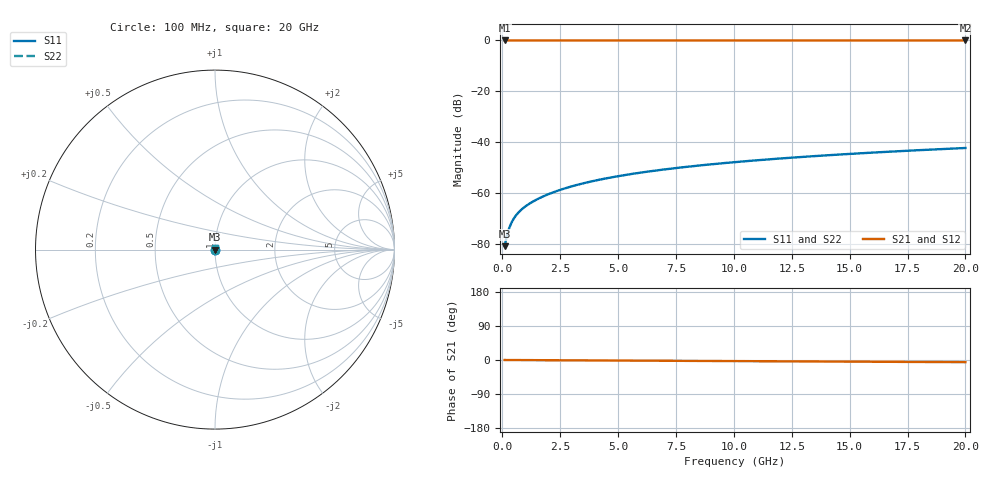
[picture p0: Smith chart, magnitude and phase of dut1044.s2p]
! Touchstone file exported from HFSS 2026.1.0
!  File:  C:/ffzhzh/LocalFiles/Ansys_Project_Files/temp_train_TSV_1044_1783189348_43440.aedt
!  Generated:  02:24:02 AM Jul  5, 2026
!  Design:  TSV
!  Project:  temp_train_TSV_1044_1783189348_43440
! Variables:
!  h_bsmrdl = 2um
!  h_ox = 20um
!  h_rdl = 5um
!  h_sub = 51.07um
!  h_tmrdl = 5um
!  h_tsv = 51.07um
!  h_via = 3um
!  l_bsmrdl = 300um
!  l_sub = 426.46um
!  l_tmrdl = 200um
!  m_sub = 200um
!  pitch = 56.26um
!  r_tsv = 13.23um
!  s_tmrdl = 10um
!  w_bsmrdl = 18um
!  w_sub = 500um
!  w_tmrdl = 12um
!  x_tsv_center1 = 206um
!  x_tsv_center2 = 524um
!  x_tsv_center3 = 736um
!  x_tsv_center4 = 1054um
!  x_tsv_center5 = 1266um
!  x_tsv_center6 = 1584um
# GHz S MA R 50.000000
! Terminal data exported
! Port[1] = TSV1_1_T1
! Port[2] = TSV1_1_T2
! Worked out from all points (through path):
!   200 points, 100 MHz to 20 GHz, reference 50 ohm
!   highest |S21| = 0.00 dB at 100 MHz (marker M1); lowest = 0.0 dB at 20 GHz (marker M2)
!   lowest |S11| = -80.9 dB at 100 MHz (marker M3), VSWR 1.00, Z = 50 + j0.00656 ohm
!   |S11| at or under -10 dB: start of sweep to end of sweep
!   |S22| runs from -80.9 to -42.3 dB; largest |S21 - S12| = 1.3e-15
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0.1  9.028e-05 46.6  0.9999 -0.0  0.9999 -0.0  9.028e-05 46.6
! Gamma 0 0 0 0
! Port Impedance 50 0 50 0
0.2  0.000147 61.4  0.9999 -0.1  0.9999 -0.1  0.000147 61.4
0.3  0.0002062 66.3  0.9999 -0.1  0.9999 -0.1  0.0002062 66.3
0.4  0.0002632 68.3  0.9999 -0.1  0.9999 -0.1  0.0002632 68.3
0.5  0.000317 69.2  0.9999 -0.1  0.9999 -0.1  0.000317 69.2
0.6  0.0003675 69.6  0.9999 -0.2  0.9999 -0.2  0.0003675 69.6
0.7  0.0004152 70.0  0.9999 -0.2  0.9999 -0.2  0.0004152 70.0
0.8  0.0004607 70.3  0.9998 -0.2  0.9998 -0.2  0.0004607 70.3
1  0.0005472 71.1  0.9998 -0.3  0.9998 -0.3  0.0005472 71.1
1.4  0.0007114 72.8  0.9998 -0.4  0.9998 -0.4  0.0007114 72.8
1.7  0.0008323 73.9  0.9998 -0.5  0.9998 -0.5  0.0008323 73.9
2  0.000953 74.9  0.9998 -0.6  0.9998 -0.6  0.000953 74.9
2.7  0.001235 76.6  0.9997 -0.8  0.9997 -0.8  0.001235 76.6
3.5  0.001555 77.8  0.9997 -1.0  0.9997 -1.0  0.001555 77.8
4.2  0.001832 78.4  0.9997 -1.2  0.9997 -1.2  0.001832 78.4
5  0.002146 78.8  0.9996 -1.4  0.9996 -1.4  0.002146 78.8
6.8  0.002837 79.4  0.9996 -2.0  0.9996 -2.0  0.002837 79.4
8.3  0.003403 79.6  0.9995 -2.4  0.9995 -2.4  0.003403 79.6
10.1  0.004076 79.8  0.9995 -2.9  0.9995 -2.9  0.004076 79.8
13.4  0.005296 79.7  0.9994 -3.9  0.9994 -3.9  0.005296 79.7
16.7  0.0065 79.3  0.9993 -4.8  0.9993 -4.8  0.0065 79.3
20  0.007686 78.8  0.9992 -5.7  0.9992 -5.7  0.007686 78.8
